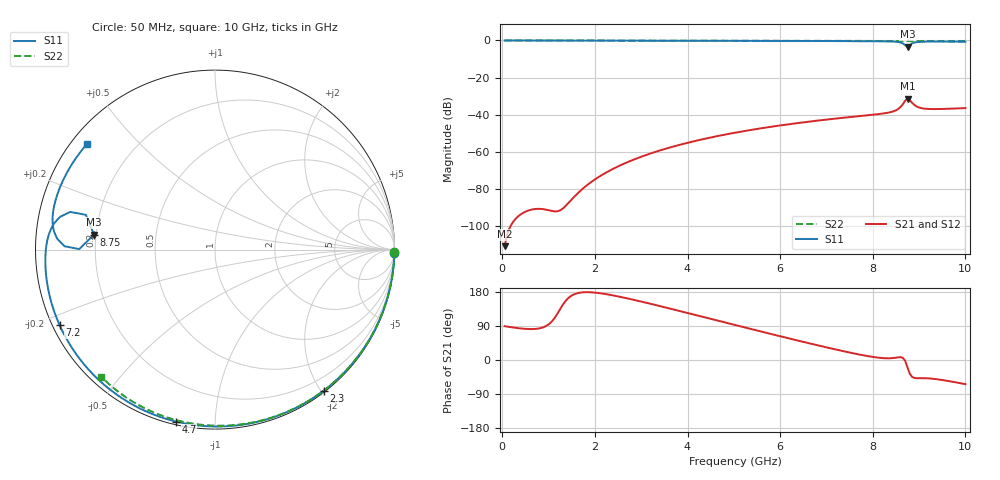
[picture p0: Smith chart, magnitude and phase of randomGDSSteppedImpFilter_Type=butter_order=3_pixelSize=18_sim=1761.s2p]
! freq	dB(S11)	phase(S11)	dB(S12)	phase(S12)
!  dB(S21)	phase(S21)	dB(S22)	phase(S22)
!S-par simulation data
#  GHz  S  DB  R 50
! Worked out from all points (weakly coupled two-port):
!   200 points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, 50 MHz to 10 GHz, reference 50 ohm
!   highest |S21| = -31.41 dB at 8.75 GHz (marker M1); lowest = -110.9 dB at 50 MHz (marker M2)
!   lowest |S11| = -3.4 dB at 8.75 GHz (marker M3), VSWR 5.24, Z = 9.58 + j2.98 ohm
!   |S11| at or under -10 dB: nowhere
!   |S22| runs from -0.4 to 0.0 dB; largest |S21 - S12| = 0
!   S11 on the Smith chart (normalised r, x): 50 MHz: 0, -97; 2.3 GHz: 0.02, -2.04; 4.7 GHz: 0.01, -0.80; 7.2 GHz: 0.02, -0.23; 8.75 GHz: 0.19, +0.06; 10 GHz: 0.04, +0.36
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0.05  -0.00 -1.2  -110.94 89.2  -110.94 89.2  -0.00 -0.8
0.85  -0.03 -19.7  -90.88 84.9  -90.88 84.9  -0.02 -12.9
1.75  -0.05 -40.1  -79.67 178.8  -79.67 178.8  -0.03 -26.3
2.3  -0.07 -52.3  -70.44 172.5  -70.44 172.5  -0.04 -34.4
2.8  -0.08 -63.2  -64.63 159.9  -64.63 159.9  -0.05 -41.6
3.4  -0.10 -76.0  -59.35 142.4  -59.35 142.4  -0.07 -50.1
4.7  -0.15 -102.8  -51.30 102.4  -51.30 102.4  -0.10 -67.9
5.05  -0.17 -109.9  -49.64 91.6  -49.64 91.6  -0.11 -72.5
5.85  -0.22 -126.1  -46.37 67.2  -46.37 67.2  -0.14 -82.8
6.7  -0.28 -143.5  -43.54 41.9  -43.54 41.9  -0.18 -93.4
7.2  -0.33 -154.1  -42.12 27.7  -42.12 27.7  -0.21 -99.5
7.85  -0.41 -168.7  -40.45 11.2  -40.45 11.2  -0.25 -107.2
8.35  -0.55 178.1  -38.86 4.5  -38.86 4.5  -0.29 -113.0
8.55  -0.85 170.6  -36.96 7.1  -36.96 7.1  -0.31 -115.4
8.65  -1.58 165.4  -34.34 5.7  -34.34 5.7  -0.32 -116.5
8.7  -2.56 164.9  -32.48 -2.5  -32.48 -2.5  -0.32 -117.1
8.75  -3.36 172.9  -31.41 -19.6  -31.41 -19.6  -0.32 -117.6
8.8  -2.43 179.8  -32.19 -36.4  -32.19 -36.4  -0.32 -118.2
8.9  -1.10 176.1  -34.83 -47.4  -34.83 -47.4  -0.33 -119.4
9  -0.77 171.3  -36.16 -48.0  -36.16 -48.0  -0.34 -120.5
9.3  -0.63 161.0  -37.01 -49.5  -37.01 -49.5  -0.37 -123.9
10  -0.68 140.4  -36.47 -63.8  -36.47 -63.8  -0.44 -131.9
